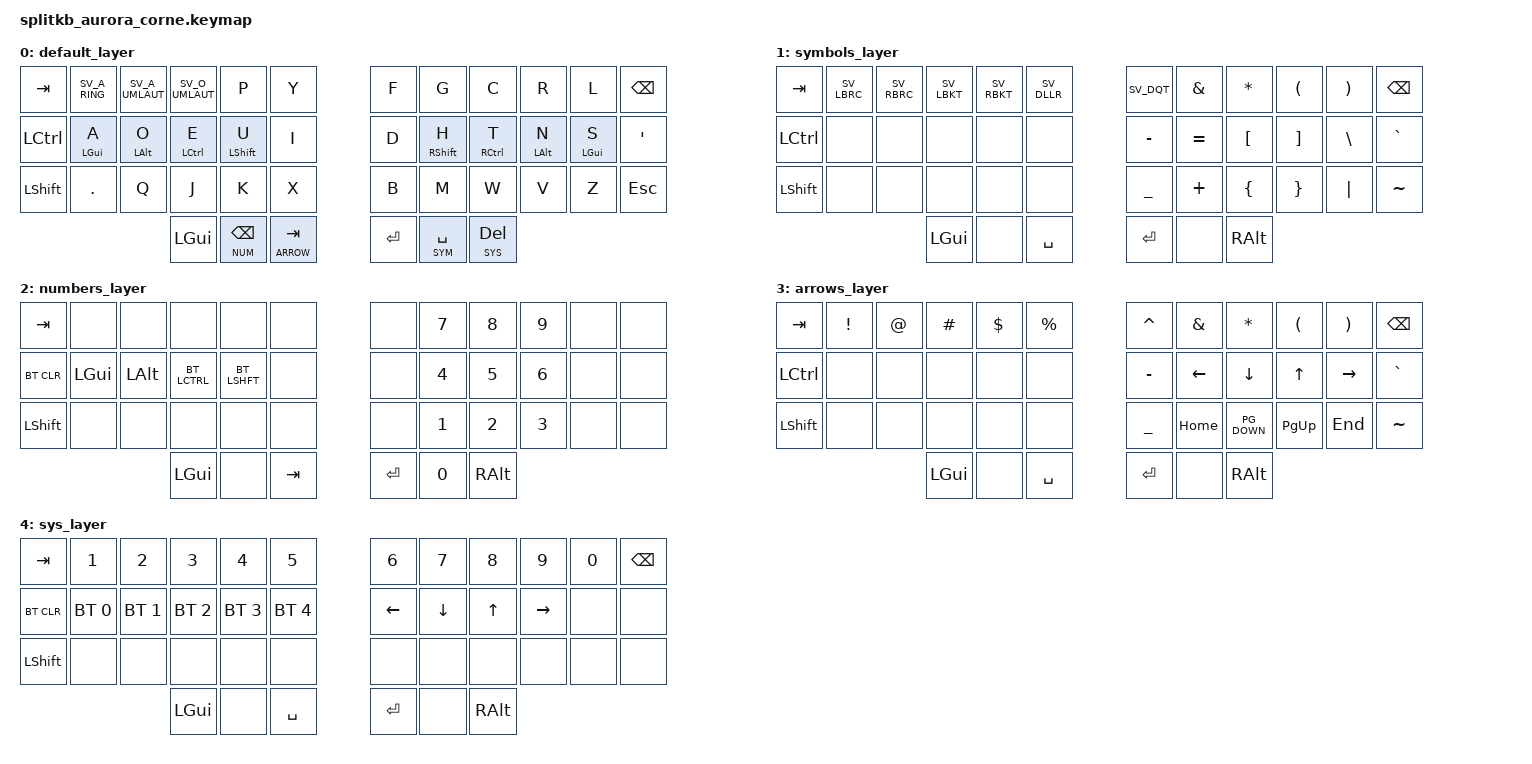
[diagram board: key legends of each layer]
/*
 * Copyright (c) 2020 The ZMK Contributors
 *
 * SPDX-License-Identifier: MIT
 */

#include <behaviors.dtsi>
#include <dt-bindings/zmk/keys.h>
#include <dt-bindings/zmk/bt.h>
#include <locale/keys_sv.h>

#define SYM 1
#define NUM 2
#define ARROW 3
#define SYS 4

/ {
        keymap {
                compatible = "zmk,keymap";

                default_layer {
// -----------------------------------------------------------------------------------------
// |  TAB |  Q  |  W  |  E  |  R  |  T  |   |  Y  |  U   |  I  |  O  |  P  | BSPC |
// | CTRL |  A  |  S  |  D  |  F  |  G  |   |  H  |  J   |  K  |  L  |  ;  |  '   |
// | SHFT |  Z  |  X  |  C  |  V  |  B  |   |  N  |  M   |  ,  |  .  |  /  | ESC  |
//                    | GUI | LWR | SPC |   | ENT | RSE  | ALT |
                        bindings = <
   &kp TAB   &kp SV_A_RING &kp SV_A_UMLAUT &kp SV_O_UMLAUT &kp P &kp Y   &kp F &kp G  &kp C     &kp R   &kp L    &kp BSPC
   &kp LCTRL &mt LGUI A &mt LALT O &mt LCTRL E &mt LSHFT U &kp I   &kp D &mt RSHFT H  &mt RCTRL T     &mt LALT N   &mt LGUI S &kp SQT
   &kp LSHFT &kp DOT &kp Q &kp J &kp K &kp X   &kp B &kp M  &kp W &kp V &kp Z &kp ESC
                  &kp LGUI &lt NUM BSPC &lt ARROW TAB    &kp RET &lt SYM SPACE &lt SYS DEL
                        >;
                };

                symbols_layer {
// -----------------------------------------------------------------------------------------
// |  TAB |  !  |  @  |  #  |  $  |  %  |   |  ^  |  &  |  *  |  (  |  )  | BSPC |
// | CTRL |     |     |     |     |     |   |  -  |  =  |  [  |  ]  |  \  |  `   |
// | SHFT |     |     |     |     |     |   |  _  |  +  |  {  |  }  | "|" |  ~   |
//                    | GUI |     | SPC |   | ENT |     | ALT |
                        bindings = <
   &kp  TAB  &kp SV_LBRC &kp SV_RBRC &kp SV_LBKT &kp SV_RBKT &kp SV_DLLR  &kp SV_DQT &kp AMPS  &kp ASTRK &kp LPAR &kp RPAR &kp BSPC
   &kp LCTRL &none   &none &none   &none   &none      &kp MINUS &kp EQUAL &kp LBKT  &kp RBKT &kp BSLH &kp GRAVE
   &kp LSHFT &none   &none &none   &none   &none      &kp UNDER &kp PLUS  &kp LBRC  &kp RBRC &kp PIPE &kp TILDE
                             &kp LGUI &none   &kp SPACE   &kp RET   &none    &kp RALT
                        >;
                };

                numbers_layer {
// -----------------------------------------------------------------------------------------
// |  TAB |  1  |  2  |  3  |  4  |  5  |   |  6  |  7  |  8  |  9  |  0  | BSPC |
// | BTCLR| BT1 | BT2 | BT3 | BT4 | BT5 |   | LFT | DWN |  UP | RGT |     |      |
// | SHFT |     |     |     |     |     |   |     |     |     |     |     |      |
//                    | GUI |     | SPC |   | ENT |     | ALT |
                        bindings = <
   &kp TAB    &none        &none        &none        &none        &none          &none    &kp N7   &kp N8 &kp N9  &none &none
   &bt BT_CLR &kp LGUI     &kp LALT     &bt LCTRL    &bt LSHFT    &none          &none    &kp N4   &kp N5 &kp N6  &none &none
   &kp LSHFT  &none        &none        &none        &none        &none          &none    &kp N1   &kp N2 &kp N3  &none &none
                                        &kp LGUI     &none        &kp TAB        &kp RET  &kp N0   &kp RALT
                        >;
                };

                arrows_layer {
// -----------------------------------------------------------------------------------------
// |  TAB |  !  |  @  |  #  |  $  |  %  |   |  ^  |  &  |  *  |  (  |  )  | BSPC |
// | CTRL |     |     |     |     |     |   |  -  |  =  |  [  |  ]  |  \  |  `   |
// | SHFT |     |     |     |     |     |   |  _  |  +  |  {  |  }  | "|" |  ~   |
//                    | GUI |     | SPC |   | ENT |     | ALT |
                        bindings = <
   &kp  TAB  &kp EXCL &kp AT &kp HASH &kp DLLR &kp PRCNT   &kp CARET &kp AMPS  &kp ASTRK &kp LPAR &kp RPAR &kp BSPC
   &kp LCTRL &none   &none &none   &none   &none      &kp MINUS &kp LEFT  &kp DOWN     &kp UP    &kp RIGHT &kp GRAVE
   &kp LSHFT &none   &none &none   &none   &none      &kp UNDER &kp HOME  &kp PG_DOWN  &kp PG_UP &kp END &kp TILDE
                             &kp LGUI &none   &kp SPACE   &kp RET   &none    &kp RALT
                        >;
                };

                sys_layer {
// -----------------------------------------------------------------------------------------
// |  TAB |  1  |  2  |  3  |  4  |  5  |   |  6  |  7  |  8  |  9  |  0  | BSPC |
// | BTCLR| BT1 | BT2 | BT3 | BT4 | BT5 |   | LFT | DWN |  UP | RGT |     |      |
// | SHFT |     |     |     |     |     |   |     |     |     |     |     |      |
//                    | GUI |     | SPC |   | ENT |     | ALT |
                        bindings = <
   &kp TAB    &kp N1       &kp N2       &kp N3       &kp N4       &kp N5         &kp N6   &kp N7   &kp N8 &kp N9    &kp N0 &kp BSPC
   &bt BT_CLR &bt BT_SEL 0 &bt BT_SEL 1 &bt BT_SEL 2 &bt BT_SEL 3 &bt BT_SEL 4   &kp LEFT &kp DOWN &kp UP &kp RIGHT &none &none
   &kp LSHFT  &none       &none       &none       &none       &none         &none   &none   &none &none    &none &none
                                    &kp LGUI     &none       &kp SPACE      &kp RET  &none   &kp RALT
                        >;
                };
        };

};
